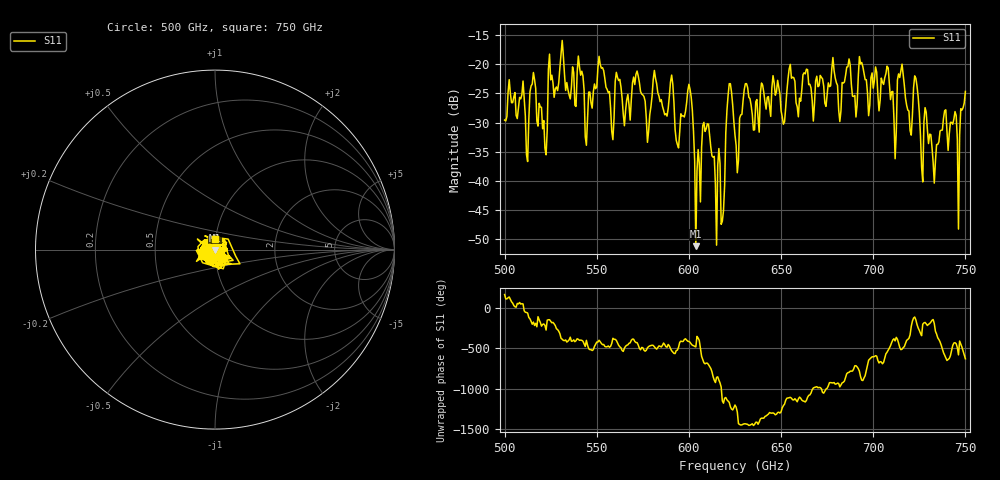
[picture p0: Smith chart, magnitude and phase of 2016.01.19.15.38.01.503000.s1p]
!Created with skrf (http://scikit-rf.org).
# GHz S RI R 50.0
!freq ReS11 ImS11
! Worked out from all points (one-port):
!   401 points, 500 GHz to 750 GHz, reference 50 ohm
!   lowest |S11| = -51.2 dB at 603.8 GHz (marker M1), VSWR 1.01, Z = 49.8 - j0.228 ohm
!   |S11| at or under -10 dB: start of sweep to end of sweep
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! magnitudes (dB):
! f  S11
! 500 GHz  -29.6
! 512.5 GHz  -36.7
! 515.6 GHz  -21.4
! 521.9 GHz  -34.4
! 525 GHz  -22.7
! 531.2 GHz  -15.9
! 544.4 GHz  -33.9
! 551.9 GHz  -20.0
! 558.1 GHz  -31.5
! 562.5 GHz  -22.6
! 578.1 GHz  -31.5
! 590.6 GHz  -21.9
! 593.8 GHz  -33.8
! 600.6 GHz  -24.3
! 603.8 GHz  -51.2
! 609.4 GHz  -31.1
! 618.1 GHz  -46.9
! 621.9 GHz  -23.3
! 625 GHz  -32.1
! 630.6 GHz  -23.3
! 651.2 GHz  -30.3
! 656.2 GHz  -22.2
! 687.5 GHz  -20.1
! 718.8 GHz  -27.8
! 723.1 GHz  -22.4
! 733.1 GHz  -40.4
! 746.9 GHz  -32.1
! 750 GHz  -24.7
